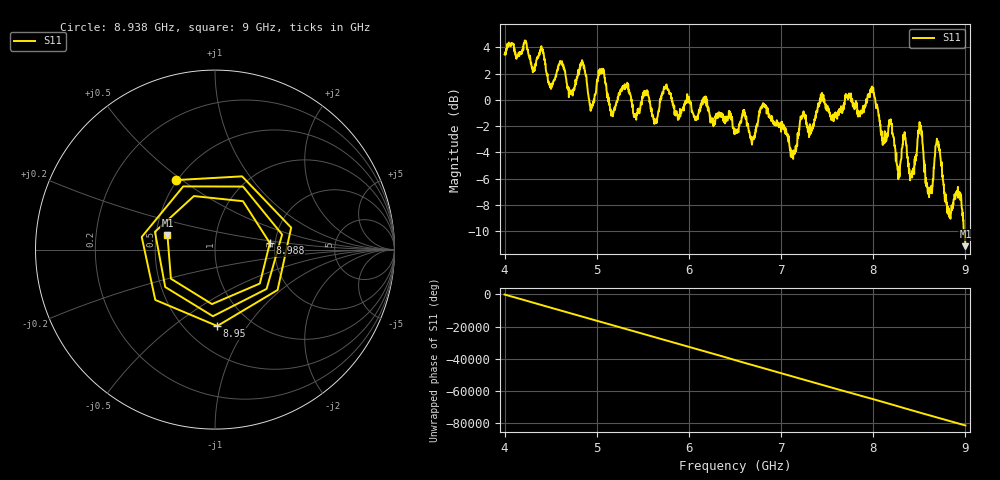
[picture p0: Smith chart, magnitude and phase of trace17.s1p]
! Created with skrf 1.8.0 (http://scikit-rf.org).
# Hz S RI R 50.0
!freq ReS11 ImS11
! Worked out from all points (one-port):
!   1601 points, 4 GHz to 9 GHz, reference 50 ohm
!   lowest |S11| = -11.1 dB at 9 GHz (marker M1), VSWR 1.77, Z = 28.7 + j5.04 ohm
!   |S11| at or under -10 dB: 8.982441 GHz to end of sweep
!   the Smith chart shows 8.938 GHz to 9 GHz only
!   S11 on the Smith chart (normalised r, x): 8.938 GHz: 0.49, +0.47; 8.95 GHz: 0.71, -0.74; 8.988 GHz: 1.87, +0.15; 9 GHz: 0.57, +0.10
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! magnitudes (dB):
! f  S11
! 4 GHz  3.5
! 4.5 GHz  1.2
! 4.625 GHz  2.8
! 4.722 GHz  0.6
! 4.847 GHz  2.8
! 4.941 GHz  -0.7
! 5.047 GHz  2.2
! 5.159 GHz  -1.2
! 5.25 GHz  0.6
! 5.875 GHz  -1.2
! 6.5 GHz  -2.6
! 6.694 GHz  -3.0
! 6.816 GHz  -0.5
! 7.125 GHz  -4.3
! 7.234 GHz  -1.3
! 7.75 GHz  0.3
! 7.991 GHz  0.6
! 8.269 GHz  -5.1
! 8.375 GHz  -4.3
! 8.422 GHz  -5.9
! 8.506 GHz  -2.1
! 8.6 GHz  -7.1
! 8.697 GHz  -3.2
! 8.819 GHz  -8.3
! 8.938 GHz  -7.0
! 8.95 GHz  -7.4
! 8.988 GHz  -10.2
! 9 GHz  -11.1
